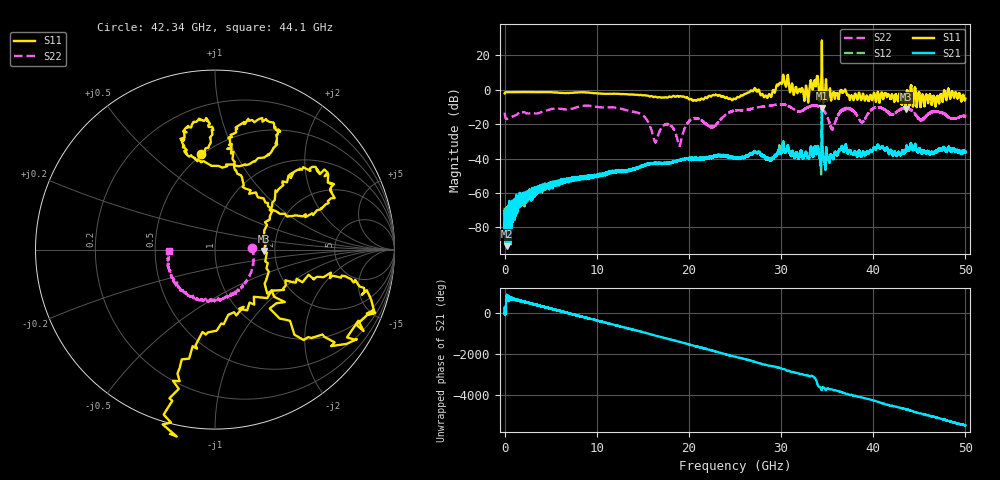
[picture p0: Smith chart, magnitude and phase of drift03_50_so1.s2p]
!Created with skrf (http://scikit-rf.org).
# Hz S RI R 50.0
!freq ReS11 ImS11 ReS21 ImS21 ReS12 ImS12 ReS22 ImS22
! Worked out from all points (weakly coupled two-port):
!   10000 points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, 5.3 MHz to 50 GHz, reference 50 ohm
!   highest |S21| = -10.69 dB at 34.43 GHz (marker M1); lowest = -90.9 dB at 245.3 MHz (marker M2)
!   lowest |S11| = -11.3 dB at 43.52 GHz (marker M3), VSWR 1.74, Z = 87.2 - j1.52 ohm
!   |S11| at or under -10 dB: 43.49093 GHz to 43.54297 GHz (52.04 MHz wide, 0.12 % of centre); 44.70924 GHz to 44.71117 GHz (1.934 MHz wide, 0.00433 % of centre); 45.13961 GHz to 45.14031 GHz (704.8 kHz wide, 0.00156 % of centre)
!   |S22| runs from -32.6 to -8.4 dB; largest |S21 - S12| = 0.085
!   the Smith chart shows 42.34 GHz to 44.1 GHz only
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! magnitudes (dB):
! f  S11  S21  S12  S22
! 5.3 MHz  -2.1  -78.0  -68.5  -13.3
! 245.3 MHz  -1.4  -90.9  -81.8  -17.0
! 3.19 GHz  -1.4  -58.3  -59.9  -13.6
! 8.34 GHz  -1.5  -51.3  -50.9  -9.5
! 14.57 GHz  -3.1  -45.1  -45.1  -13.6
! 16.67 GHz  -4.4  -42.6  -42.7  -26.2
! 17.81 GHz  -4.2  -42.6  -42.6  -20.1
! 18.99 GHz  -3.9  -40.8  -41.0  -32.5
! 20.29 GHz  -5.6  -40.3  -40.1  -17.1
! 22.57 GHz  -3.1  -39.2  -39.2  -21.8
! 25.01 GHz  -5.5  -39.9  -39.9  -12.2
! 28.72 GHz  -2.5  -40.5  -40.7  -9.4
! 30.14 GHz  4.4  -33.5  -33.8  -8.5
! 32.74 GHz  2.0  -36.8  -36.4  -10.5
! 33.34 GHz  2.6  -34.9  -35.4  -9.4
! 34.43 GHz  28.6  -10.7  -12.2  -10.8
! 35.55 GHz  -2.9  -39.0  -39.0  -22.7
! 36.99 GHz  0.0  -32.1  -32.5  -11.1
! 38.77 GHz  -5.1  -38.2  -37.9  -18.9
! 41.67 GHz  -3.0  -36.7  -36.6  -13.4
! 43.52 GHz  -11.3  -34.9  -35.0  -10.6
! 50 GHz  -5.2  -36.5  -35.6  -15.5
